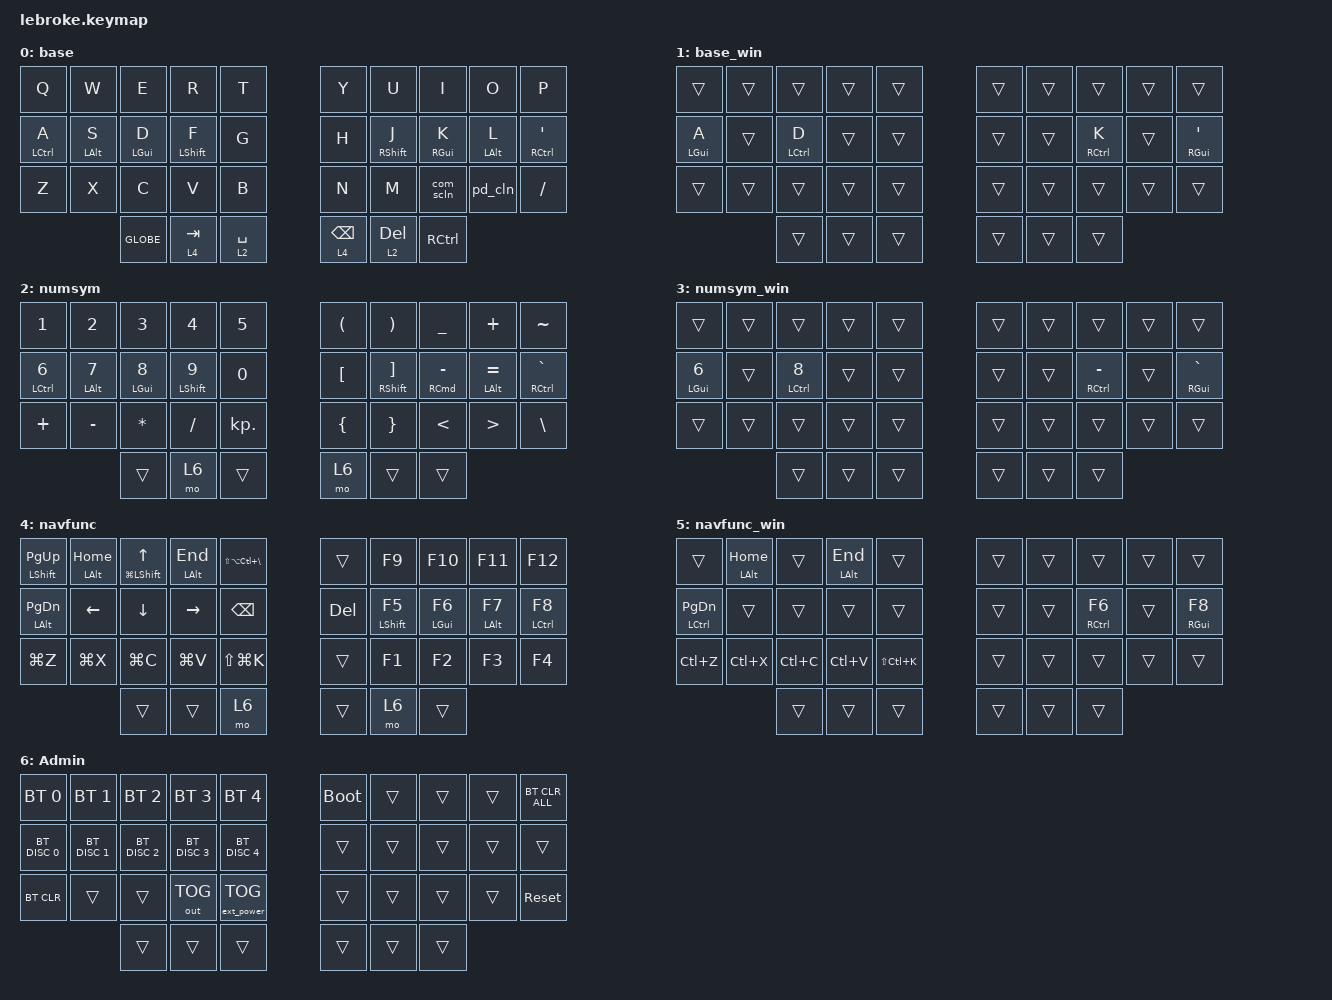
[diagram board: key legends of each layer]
/*
 * Copyright (c) 2020 The ZMK Contributors
 *
 * SPDX-License-Identifier: MIT
 */

#include <behaviors.dtsi>
#include <dt-bindings/zmk/bt.h>
#include <dt-bindings/zmk/ext_power.h>
#include <dt-bindings/zmk/keys.h>
#include <dt-bindings/zmk/outputs.h>

&soft_off { hold-time-ms = <0>; };

&lt {
    quick-tap-ms = <150>;
    tapping-term-ms = <250>;
};

/ {
    combos {
        compatible = "zmk,combos";

        left_enter {
            bindings = <&kp ENTER>;
            key-positions = <1 12 23>;
        };

        right_enter {
            bindings = <&kp ENTER>;
            key-positions = <8 17 26>;
        };

        esc {
            bindings = <&kp ESCAPE>;
            key-positions = <0 1>;
        };

        tab {
            bindings = <&kp TAB>;
            key-positions = <3 14>;
        };

        shift_tab {
            bindings = <&kp LS(TAB)>;
            key-positions = <2 13>;
        };

        hold_space {
            bindings = <&kp SPACE>;
            key-positions = <23 32>;
        };

        caps_word {
            bindings = <&caps_word>;
            key-positions = <14 15>;
        };

        toggle_nav {
            bindings = <&tog 2>;
            key-positions = <11 2 13>;
            layers = <0 2>;
            require-prior-idle-ms = <350>;
        };

        jsdoc {
            bindings = <&jsdoc>;
            key-positions = <29 28>;
        };

        caps_lock {
            bindings = <&kp CAPSLOCK>;
            key-positions = <13 12 16 17>;
        };

        screen_shot {
            bindings = <&kp LS(LG(N5))>;
            key-positions = <0 11>;
        };

        soft_off {
            bindings = <&soft_off>;
            key-positions = <0 32 9 33>;
        };

        bootloader {
            bindings = <&bootloader>;
            key-positions = <4 14 5 15>;
        };

        bt_clear_all {
            bindings = <&bt BT_CLR_ALL>;
            key-positions = <20 21 29 28 22 27>;
        };

        reset {
            bindings = <&sys_reset>;
            key-positions = <30 31 32 33 34 35>;
        };

        globe {
            bindings = <&kp GLOBE>;
            key-positions = <4 5>;
        };

        toggle_win {
            bindings = <&tog 1>;
            key-positions = <0 9>;
        };

        screenshot_win {
            bindings = <&kp LS(LG(S))>;
            key-positions = <0 11>;
            layers = <1>;
        };

        force_quit_mac {
            bindings = <&kp LA(LG(ESCAPE))>;
            key-positions = <0 1 2>;
        };

        pw {
            bindings = <&pw>;
            key-positions = <0 1 8 9>;
        };
    };

    behaviors {
        hm: HOMEROW_MODS {
            compatible = "zmk,behavior-hold-tap";
            label = "HOMEROW_MODS";
            bindings = <&kp>, <&kp>;

            #binding-cells = <2>;
            tapping-term-ms = <300>;
            quick-tap-ms = <150>;
            flavor = "balanced";
            require-prior-idle-ms = <250>;
        };

        hs: HOMEROW_SHIFT {
            compatible = "zmk,behavior-hold-tap";
            label = "HOMEROW_SHIFT";
            bindings = <&kp>, <&kp>;

            #binding-cells = <2>;
            tapping-term-ms = <250>;
            quick-tap-ms = <100>;
            flavor = "balanced";
            require-prior-idle-ms = <0>;
        };

        esc: esc {
            compatible = "zmk,behavior-tap-dance";
            label = "ESC";
            #binding-cells = <0>;
            bindings = <&kp Q>, <&kp ESC>;

            tapping-term-ms = <200>;
        };

        tab: tab {
            compatible = "zmk,behavior-tap-dance";
            label = "TAB";
            #binding-cells = <0>;
            bindings = <&mt LCTRL ENTER>, <&kp TAB>;

            tapping-term-ms = <250>;
        };

        com_scln: com_scln {
            compatible = "zmk,behavior-mod-morph";
            label = "COM_SCLN";
            bindings = <&kp COMMA>, <&kp SEMICOLON>;

            #binding-cells = <0>;
            mods = <(MOD_LSFT|MOD_RSFT)>;
        };

        pd_cln: pd_cln {
            compatible = "zmk,behavior-mod-morph";
            label = "PD_CLN";
            bindings = <&kp PERIOD>, <&kp COLON>;

            #binding-cells = <0>;
            mods = <(MOD_LSFT|MOD_RSFT)>;
        };

		hw_soft_off: hw_soft_off {
            		compatible = "zmk,behavior-soft-off";
            		#binding-cells = <0>;
            		split-peripheral-off-on-press; // Turn peripheral off immediately for reliability (not applicable)
            		hold-time-ms = <1500>; // Only turn off if the key is held for 1.5 seconds or longer.
        };
    };

    macros {
        jsdoc: jsdoc {
            compatible = "zmk,behavior-macro";
            #binding-cells = <0>;
            bindings = <&kp FSLH &kp STAR &kp STAR &kp SPACE>;
            label = "JSDOC";
        };

        pw: pw {
            compatible = "zmk,behavior-macro";
            #binding-cells = <0>;
            bindings = <&kp LS(M) &kp A &kp C &kp H &kp I &kp N &kp E &kp R &kp Y &kp SPACE &kp J &kp U &kp N &kp G &kp L &kp E &kp SPACE &kp T &kp R &kp O &kp P &kp I &kp C &kp A &kp L &kp SPACE &kp R &kp O &kp A &kp R &kp N1>;
            label = "PW";
        };
    };

    keymap {
        compatible = "zmk,keymap";

        base {
            bindings = <
  &kp Q        &kp W       &kp E           &kp R        &kp T          &kp Y            &kp U         &kp I            &kp O       &kp P
  &hm LCTRL A  &hm LALT S  &hm LEFT_GUI D  &hm LSHFT F  &kp G          &kp H            &hm RSHFT J   &hm RIGHT_GUI K  &hm LALT L  &hm RCTRL SINGLE_QUOTE
  &kp Z        &kp X       &kp C           &kp V        &kp B          &kp N            &kp M         &com_scln        &pd_cln     &kp FSLH
                           &kp GLOBE       &lt 4 TAB    &lt 2 SPACE    &lt 4 BACKSPACE  &lt 2 DELETE  &kp RCTRL
            >;
        };

        base_win {
            bindings = <
  &trans      &trans  &trans       &trans  &trans    &trans  &trans  &trans       &trans  &trans
  &hm LGUI A  &trans  &hm LCTRL D  &trans  &trans    &trans  &trans  &hm RCTRL K  &trans  &hm RGUI SQT
  &trans      &trans  &trans       &trans  &trans    &trans  &trans  &trans       &trans  &trans
                      &trans       &trans  &trans    &trans  &trans  &trans
            >;
        };

        numsym {
            // -----------------------------------------------------------------------------------------
            // |  1  |  2  |  3  |  4  |  5  |  6  |  7  |  8  |  9  |  0  |
            // |  !  |  @  |  #  |  $  |  %  |  ^  |  &  |  *  |  =  |  -  |
            // |  \  |  {  |  [  |  (  |  _  |  )  |  ]  |  }  |  .  |  `  |
            //             | CTL | ALT |  ENT | SPC | GUI  | CTL |

            bindings = <
  &kp N1              &kp N2           &kp N3           &kp N4             &kp N5        &kp LEFT_PARENTHESIS  &kp RIGHT_PARENTHESIS    &kp UNDER       &kp PLUS            &kp TILDE
  &hm LCTRL NUMBER_6  &hm LEFT_ALT N7  &hm LEFT_GUI N8  &hm LEFT_SHIFT N9  &kp N0        &kp LEFT_BRACKET      &hm RSHFT RIGHT_BRACKET  &hm RCMD MINUS  &hm LEFT_ALT EQUAL  &hm RCTRL GRAVE
  &kp PLUS            &kp MINUS        &kp ASTERISK     &kp SLASH          &kp KP_DOT    &kp LEFT_BRACE        &kp RIGHT_BRACE          &kp LESS_THAN   &kp GREATER_THAN    &kp BACKSLASH
                                       &trans           &mo 6              &trans        &mo 6                 &trans                   &trans
            >;
        };

        numsym_win {
            bindings = <
  &trans             &trans  &trans        &trans  &trans    &trans  &trans  &trans           &trans  &trans
  &hm LGUI NUMBER_6  &trans  &hm LCTRL N8  &trans  &trans    &trans  &trans  &hm RCTRL MINUS  &trans  &hm RGUI GRAVE
  &trans             &trans  &trans        &trans  &trans    &trans  &trans  &trans           &trans  &trans
                             &trans        &trans  &trans    &trans  &trans  &trans
            >;
        };

        navfunc {
            // -----------------------------------------------------------------------------------------
            // |BTCLR| RST |     |      |     |      | PGDN |  UP  | PGUP |      |
            // | BT0 |CMENU|     |      |     | HOME | LEFT | DOWN |RIGHT | END  |
            // | BT1 | BOOT|     |      |     |      |      |      |      |      |
            //             | CTL | ALT |  ENT | SPC | GUI  | CTL |

            bindings = <
  &mt LEFT_SHIFT PG_UP  &mt LEFT_ALT HOME  &mt LG(LEFT_SHIFT) UP_ARROW  &mt LEFT_ALT END  &kp LS(LA(LC(BACKSLASH)))    &trans      &kp F9        &kp F10          &kp F11          &kp F12
  &mt LALT PAGE_DOWN    &kp LEFT_ARROW     &kp DOWN                     &kp RIGHT         &kp BACKSPACE                &kp DELETE  &hs LSHFT F5  &hm LEFT_GUI F6  &hm LEFT_ALT F7  &hm LCTRL F8
  &kp LG(Z)             &kp LG(X)          &kp LG(C)                    &kp LG(V)         &kp LS(LG(K))                &trans      &kp F1        &kp F2           &kp F3           &kp F4
                                           &trans                       &trans            &mo 6                        &trans      &mo 6         &trans
            >;
        };

        navfunc_win {
            bindings = <
  &trans               &mt LALT HOME  &trans     &mt LALT END  &trans           &trans  &trans  &trans        &trans  &trans
  &hm LCTRL PAGE_DOWN  &trans         &trans     &trans        &trans           &trans  &trans  &hm RCTRL F6  &trans  &hm RGUI F8
  &kp LC(Z)            &kp LC(X)      &kp LC(C)  &kp LC(V)     &kp LS(LC(K))    &trans  &trans  &trans        &trans  &trans
                                      &trans     &trans        &trans           &trans  &trans  &trans
            >;
        };

        Admin {
            bindings = <
  &bt BT_SEL 0   &bt BT_SEL 1   &bt BT_SEL 2   &bt BT_SEL 3   &bt BT_SEL 4         &bootloader  &trans  &trans  &trans  &bt BT_CLR_ALL
  &bt BT_DISC 0  &bt BT_DISC 1  &bt BT_DISC 2  &bt BT_DISC 3  &bt BT_DISC 4        &trans       &trans  &trans  &trans  &trans
  &bt BT_CLR     &trans         &trans         &out OUT_TOG   &ext_power EP_TOG    &trans       &trans  &trans  &trans  &sys_reset
                                &trans         &trans         &trans               &trans       &trans  &trans
            >;
        };
    };

    conditional_layers {
        compatible = "zmk,conditional-layers";

        num_sym_win {
            if-layers = <1 2>;
            then-layer = <3>;
        };

        nav_func_win {
            if-layers = <1 4>;
            then-layer = <5>;
        };
    };
};
